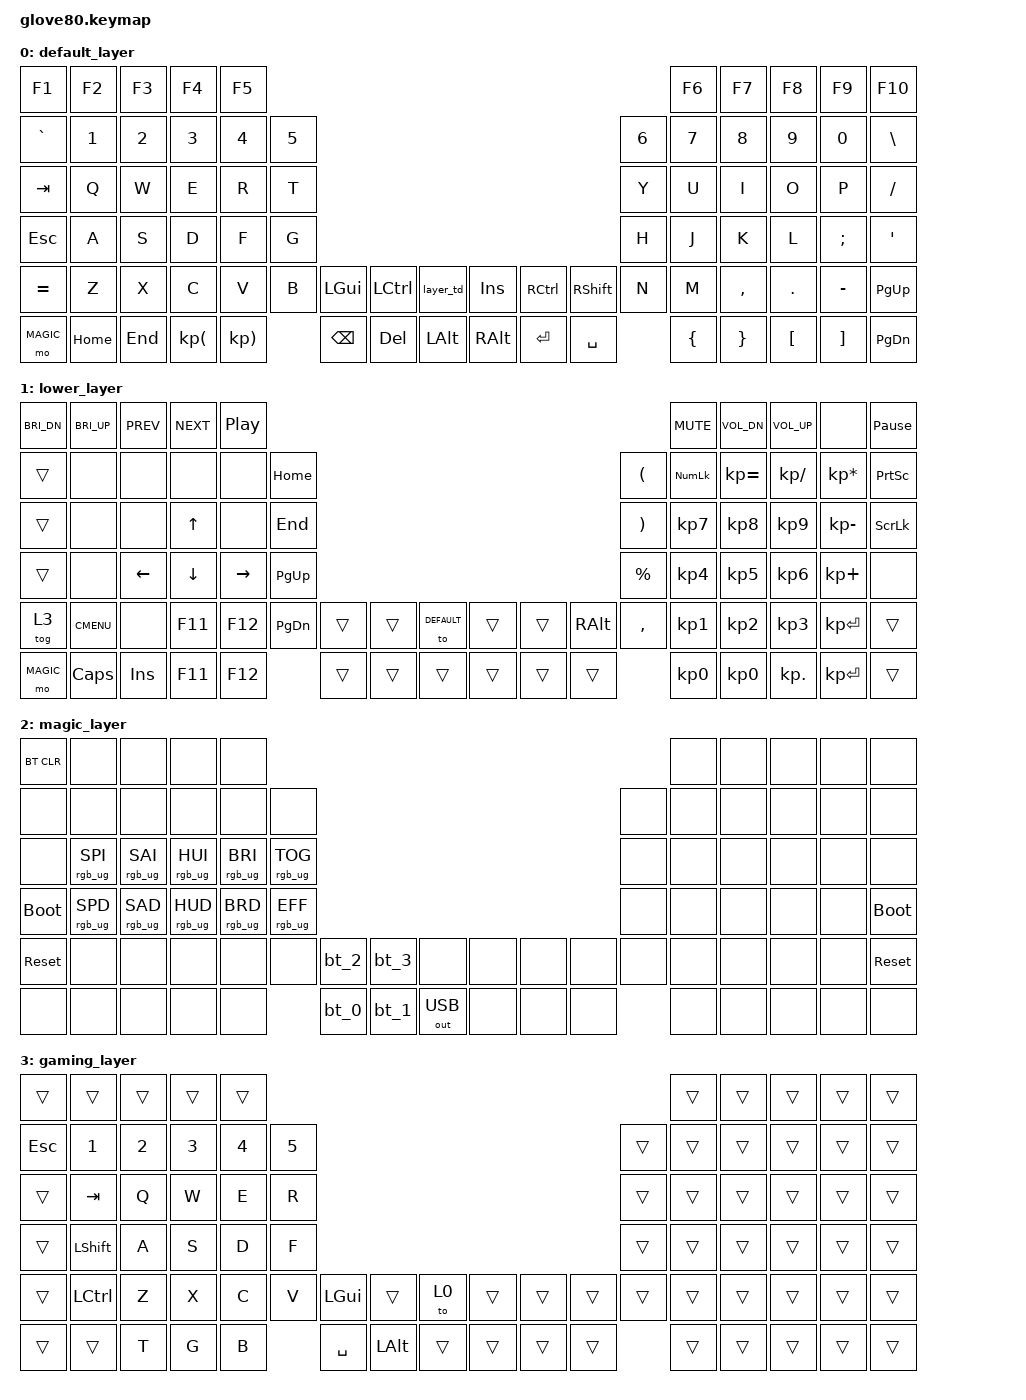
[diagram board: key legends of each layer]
/*
 * Copyright (c) 2020 The ZMK Contributors
 *
 * SPDX-License-Identifier: MIT
 */

#include <behaviors.dtsi>
#include <dt-bindings/zmk/keys.h>
#include <dt-bindings/zmk/bt.h>
#include <dt-bindings/zmk/ext_power.h>
#include <dt-bindings/zmk/outputs.h>
#include <dt-bindings/zmk/rgb.h>

// layers
#define DEFAULT 0
#define LOWER 1
#define MAGIC 2
#define GAMING 3

/ {
    behaviors {
        // For the "layer" key, it'd nice to be able to use it as either a shift or a toggle.
        // Configure it as a tap dance, so the first tap (or hold) is a &mo and the second tap is a &to
        layer_td: tap_dance_0 {
            compatible = "zmk,behavior-tap-dance";
            #binding-cells = <0>;
            tapping-term-ms = <200>;
            bindings = <&mo LOWER>, <&to LOWER>;
        };
    };

    macros {
        bt_0: bt_profile_macro_0 {
            compatible = "zmk,behavior-macro";
            #binding-cells = <0>;
            bindings
                = <&out OUT_BLE>,
                  <&bt BT_SEL 0>;
        };

        bt_1: bt_profile_macro_1 {
            compatible = "zmk,behavior-macro";
            #binding-cells = <0>;
            bindings
                = <&out OUT_BLE>,
                  <&bt BT_SEL 1>;
        };

        bt_2: bt_profile_macro_2 {
            compatible = "zmk,behavior-macro";
            #binding-cells = <0>;
            bindings
                = <&out OUT_BLE>,
                  <&bt BT_SEL 2>;
        };

        bt_3: bt_profile_macro_3 {
            compatible = "zmk,behavior-macro";
            #binding-cells = <0>;
            bindings
                = <&out OUT_BLE>,
                  <&bt BT_SEL 3>;
        };
    };

    keymap {
        compatible = "zmk,keymap";

        default_layer {
            // ---------------------------------------------------------------------------------------------------------------------------------
            // |  F1   |  F2 |  F3 |  F4  |  F5  |                                                               |  F6   |  F7   |  F8  |   F9  |  F10 |
            // |  -    |  1  |  2  |  3   |  4   |  5   |                                                 |  6   |   7   |   8   |  9   |   0   |   \  |
            // |  TAB  |  Q  |  W  |  E   |  R   |  T   |                                                 |  Y   |   U   |   I   |  O   |   P   |   /  |
            // |  ESC  |  A  |  S  |  D   |  F   |  G   |                                                 |  H   |   J   |   K   |  L   |   ;   |   '  |
            // | Equal |  Z  |  X  |  C   |  V   |  B   | LSHFT | LCTRL | LOWER | | LGUI  | RCTRL | RSHFT |  N   |   M   |   ,   |  .   |   -   | PGUP |
            // | MAGIC | HOME| END | (    | )    |      | BSPC  | DEL   | LALT  | | RALT  | RET   | SPACE |      |  {    |   }   |  [   |   ]   | PGDN |

            bindings = <
            &kp F1         &kp F2   &kp F3      &kp F4          &kp F5                                                                                           &kp F6   &kp F7      &kp F8      &kp F9      &kp F10
            &kp GRAVE      &kp N1   &kp N2      &kp N3          &kp N4      &kp N5                                                                       &kp N6  &kp N7   &kp N8      &kp N9      &kp N0      &kp BSLH
            &kp TAB        &kp Q    &kp W       &kp E           &kp R       &kp T                                                                        &kp Y   &kp U    &kp I       &kp O       &kp P       &kp FSLH 
            &kp ESC        &kp A    &kp S       &kp D           &kp F       &kp G                                                                        &kp H   &kp J    &kp K       &kp L       &kp SEMI    &kp SQT
            &kp EQUAL      &kp Z    &kp X       &kp C           &kp V       &kp B     &kp LGUI    &kp LCTRL   &layer_td  &kp INS   &kp RCTRL &kp RSHFT   &kp N   &kp M    &kp COMMA   &kp DOT     &kp MINUS   &kp PG_UP
            &mo MAGIC      &kp HOME &kp END     &kp KP_LPAR     &kp KP_RPAR           &kp BSPC    &kp DEL     &kp LALT   &kp RALT  &kp RET   &kp SPACE           &kp LBRC &kp RBRC    &kp LBKT    &kp RBKT    &kp PG_DN
            >;
        };

        lower_layer {
            bindings = <
            &kp C_BRI_DN  &kp C_BRI_UP        &kp C_PREV      &kp C_NEXT      &kp C_PP                                                                                                           &kp C_MUTE   &kp C_VOL_DN &kp C_VOL_UP  &none           &kp PAUSE_BREAK
            &trans        &none               &none           &none           &none           &kp HOME                                                                              &kp LPAR     &kp KP_NUM   &kp KP_EQUAL &kp KP_DIVIDE &kp KP_MULTIPLY &kp PSCRN
            &trans        &none               &none           &kp UP          &none           &kp END                                                                               &kp RPAR     &kp KP_N7    &kp KP_N8    &kp KP_N9     &kp KP_MINUS    &kp SLCK
            &trans        &none               &kp LEFT        &kp DOWN        &kp RIGHT       &kp PG_UP                                                                             &kp PRCNT    &kp KP_N4    &kp KP_N5    &kp KP_N6     &kp KP_PLUS     &none
            &tog 3        &kp K_CMENU         &none           &kp F11         &kp F12         &kp PG_DN       &trans      &trans      &to DEFAULT &trans      &trans      &kp RALT    &kp COMMA    &kp KP_N1    &kp KP_N2    &kp KP_N3     &kp KP_ENTER    &trans
            &mo MAGIC     &kp CAPS            &kp INS         &kp F11         &kp F12                         &trans      &trans      &trans      &trans      &trans      &trans                 &kp KP_N0    &kp KP_N0    &kp KP_DOT    &kp KP_ENTER    &trans
            >;
        };

        magic_layer {
            bindings = <
            &bt BT_CLR        &none               &none           &none           &none                                                                                                           &none      &none      &none      &none      &none
            &none             &none               &none           &none           &none           &none                                                                                &none      &none      &none      &none      &none      &none
            &none             &rgb_ug RGB_SPI     &rgb_ug RGB_SAI &rgb_ug RGB_HUI &rgb_ug RGB_BRI &rgb_ug RGB_TOG                                                                      &none      &none      &none      &none      &none      &none
            &bootloader       &rgb_ug RGB_SPD     &rgb_ug RGB_SAD &rgb_ug RGB_HUD &rgb_ug RGB_BRD &rgb_ug RGB_EFF                                                                      &none      &none      &none      &none      &none      &bootloader
            &sys_reset        &none               &none           &none           &none           &none           &bt_2     &bt_3     &none            &none     &none     &none       &none      &none      &none      &none      &none      &sys_reset
            &none             &none               &none           &none           &none                           &bt_0     &bt_1     &out OUT_USB     &none     &none     &none                  &none      &none      &none      &none      &none
            >;
        };
        gaming_layer {
            bindings = <
            &trans     &trans    &trans  &trans  &trans                                                                      &trans  &trans  &trans  &trans  &trans
            &kp ESC    &kp N1    &kp N2  &kp N3  &kp N4  &kp N5                                                      &trans  &trans  &trans  &trans  &trans  &trans
            &trans     &kp TAB   &kp Q   &kp W   &kp E   &kp R                                                       &trans  &trans  &trans  &trans  &trans  &trans
            &trans     &kp LSHFT &kp A   &kp S   &kp D   &kp F                                                       &trans  &trans  &trans  &trans  &trans  &trans
            &trans     &kp LCTRL &kp Z   &kp X   &kp C   &kp V   &kp LGUI    &trans   &to 0  &trans  &trans  &trans  &trans  &trans  &trans  &trans  &trans  &trans
            &trans     &trans    &kp T   &kp G   &kp B          &kp SPACE  &kp LALT  &trans  &trans  &trans  &trans          &trans  &trans  &trans  &trans  &trans 
            >;
        };
    };
};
